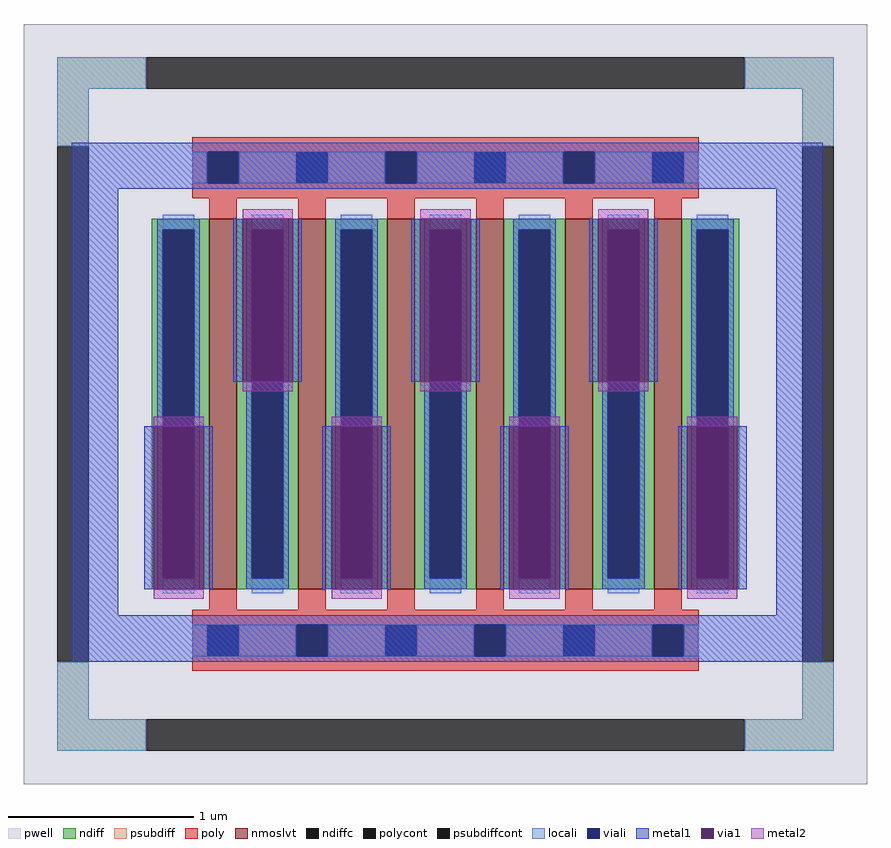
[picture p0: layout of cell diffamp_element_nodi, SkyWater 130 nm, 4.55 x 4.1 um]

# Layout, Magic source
magic
tech sky130A
magscale 1 2
<< pwell >>
rect 890 900 1436 906
rect 890 850 1480 900
rect 890 840 1436 850
rect 890 390 1436 396
rect 890 340 1474 390
rect 890 330 1436 340
<< poly >>
rect 890 890 1436 906
rect 890 856 906 890
rect 940 856 1098 890
rect 1132 856 1290 890
rect 1324 856 1436 890
rect 890 840 1436 856
rect 890 380 1436 396
rect 890 346 1002 380
rect 1036 346 1194 380
rect 1228 346 1386 380
rect 1420 346 1436 380
rect 890 330 1436 346
<< polycont >>
rect 906 856 940 890
rect 1098 856 1132 890
rect 1290 856 1324 890
rect 1002 346 1036 380
rect 1194 346 1228 380
rect 1386 346 1420 380
<< locali >>
rect 890 856 906 890
rect 940 856 1098 890
rect 1132 856 1290 890
rect 1324 856 1436 890
rect 890 346 1002 380
rect 1036 346 1194 380
rect 1228 346 1386 380
rect 1420 346 1436 380
<< viali >>
rect 906 856 940 890
rect 1098 856 1132 890
rect 1290 856 1324 890
rect 1002 346 1036 380
rect 1194 346 1228 380
rect 1386 346 1420 380
<< metal1 >>
rect 760 890 1570 900
rect 760 856 906 890
rect 940 856 1098 890
rect 1132 856 1290 890
rect 1324 856 1570 890
rect 760 850 1570 856
rect 760 390 810 850
rect 934 642 944 818
rect 998 642 1008 818
rect 1126 642 1136 818
rect 1190 642 1200 818
rect 1318 642 1328 818
rect 1382 642 1392 818
rect 838 418 848 594
rect 902 418 912 594
rect 1030 418 1040 594
rect 1094 418 1104 594
rect 1222 418 1232 594
rect 1286 418 1296 594
rect 1414 418 1424 594
rect 1478 418 1488 594
rect 1520 390 1570 850
rect 760 380 1570 390
rect 760 346 1002 380
rect 1036 346 1194 380
rect 1228 346 1386 380
rect 1420 346 1570 380
rect 760 340 1570 346
<< via1 >>
rect 944 642 998 818
rect 1136 642 1190 818
rect 1328 642 1382 818
rect 848 418 902 594
rect 1040 418 1094 594
rect 1232 418 1286 594
rect 1424 418 1478 594
<< metal2 >>
rect 944 818 998 828
rect 944 632 998 642
rect 1136 818 1190 828
rect 1136 632 1190 642
rect 1328 818 1382 828
rect 1328 632 1382 642
rect 848 594 902 604
rect 848 408 902 418
rect 1040 594 1094 604
rect 1040 408 1094 418
rect 1232 594 1286 604
rect 1232 408 1286 418
rect 1424 594 1478 604
rect 1424 408 1478 418
use sky130_fd_pr__nfet_01v8_lvt_V6SMGN  sky130_fd_pr__nfet_01v8_lvt_V6SMGN_0
transform 1 0 1163 0 1 618
box -455 -410 455 410
<< end >>

# cell sky130_fd_pr__nfet_01v8_lvt_V6SMGN: kit device sky130_fd_pr__nfet_01v8_lvt, w 2 l 0.150 m 1 nf 6 diffcov 100 polycov 100 guard 1 glc 1 grc 1 gtc 1 gbc 1 tbcov 100 rlcov 100 topc 1 botc 1 poverlap 0 doverlap 1 lmin 0.15 wmin 0.42 compatible {sky130_fd_pr__nfet_01v8 sky130_fd_pr__nfet_01v8_lvt sky130_fd_bs_flash__special_sonosfet_star sky130_fd_pr__nfet_g5v0d10v5 sky130_fd_pr__nfet_05v0_nvt sky130_fd_pr__nfet_03v3_nvt} full_metal 1 viasrc 100 viadrn 100 viagate 100 viagb 0 viagr 0 viagl 0 viagt 0
